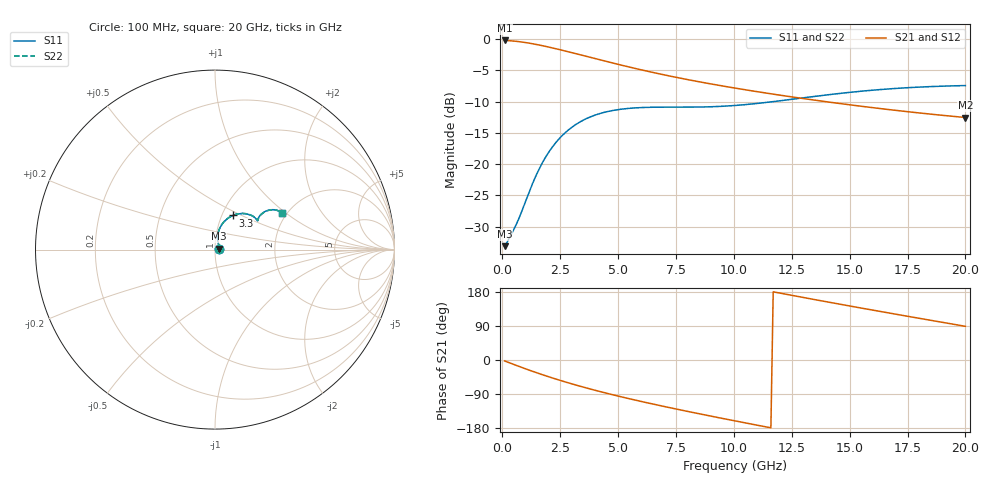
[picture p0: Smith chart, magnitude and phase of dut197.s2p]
! Touchstone file exported from HFSS 2024.1.0
!  File:  C:/UserFiles/LocalFiles/RDL_TSV_Batchsim/temp_RDL_TSV_197_1779443009.aedt
!  Generated:  06:03:29 PM May 22, 2026
!  Design:  RDL_TSV
!  Project:  temp_RDL_TSV_197_1779443009
!  Setup:  Setup1
!  Solution:  Sweep
! Variables:
!  dtsv = 11.93um
!  hbump = 3um
!  htsv = 78.71um
!  ldown = 482.27um
!  lrdl = 619.86um
!  p = 40
!  p1 = 53.49um
!  rhole = 10um
!  subl = 3926.25um
!  t = 450um
!  tdown = 2.33um
!  trdl = 4.87um
!  viad = 10um
!  wdown = 26.42um
!  wrdl = 13.71um
!  xbump = 18um
# GHz S MA R 50.000000
! Terminal data exported
! Port[1] = TM1_1_T1
! Port[2] = TM1_4_T1
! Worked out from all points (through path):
!   200 points, 100 MHz to 20 GHz, reference 50 ohm
!   highest |S21| = -0.19 dB at 100 MHz (marker M1); lowest = -12.5 dB at 20 GHz (marker M2)
!   group delay of S21, straight-line fit = 35.5 ps
!   lowest |S11| = -33.1 dB at 100 MHz (marker M3), VSWR 1.05, Z = 52.2 + j0.489 ohm
!   |S11| at or under -10 dB: start of sweep to 11.67 GHz
!   |S22| runs from -33.1 to -7.4 dB; largest |S21 - S12| = 3.3e-14
!   S11 on the Smith chart (normalised r, x): 100 MHz: 1.04, +0.01; 3.3 GHz: 1.13, +0.45; 20 GHz: 1.88, +0.94
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0.1  0.02207 12.3  0.9779 -2.4  0.9779 -2.4  0.02207 12.3
! Gamma 0 0 0 0
! Port Impedance 50 0 50 0
0.5  0.03007 45.6  0.9668 -11.9  0.9668 -11.9  0.03005 45.6
0.8  0.04015 63.4  0.9528 -18.7  0.9528 -18.7  0.04014 63.5
1.3  0.06948 77.8  0.9211 -29.7  0.9211 -29.7  0.06953 77.9
1.7  0.1 79.1  0.8906 -38.1  0.8906 -38.1  0.1002 79.2
2  0.1242 77.2  0.8661 -44.2  0.8661 -44.2  0.1244 77.4
2.4  0.1556 73.2  0.8323 -51.9  0.8323 -51.9  0.1559 73.3
2.8  0.1843 68.4  0.7983 -59.4  0.7983 -59.4  0.1847 68.5
3.3  0.2148 62.2  0.7564 -68.2  0.7564 -68.2  0.2154 62.3
3.5  0.2252 59.9  0.7401 -71.6  0.7401 -71.6  0.2258 60.0
4.3  0.2569 51.3  0.6783 -84.6  0.6783 -84.6  0.2577 51.4
5.1  0.275 44.6  0.623 -96.7  0.623 -96.7  0.276 44.7
5.9  0.2834 39.6  0.5746 -108.0  0.5746 -108.0  0.2846 39.7
6.8  0.286 36.1  0.5277 -120.2  0.5277 -120.2  0.2874 36.1
8.4  0.2864 34.2  0.4603 -140.6  0.4603 -140.6  0.2879 34.1
10.1  0.2955 35.6  0.405 -161.3  0.405 -161.3  0.2969 35.5
11.6  0.3151 37.2  0.3659 -179.0  0.3659 -179.0  0.3162 37.0
13.4  0.3471 37.4  0.3272 160.4  0.3272 160.4  0.3478 37.2
15  0.3757 36.0  0.2987 142.6  0.2987 142.6  0.3761 35.8
16.7  0.4005 33.6  0.2735 124.0  0.2735 124.0  0.4006 33.4
18.3  0.4164 31.1  0.2537 106.9  0.2537 106.9  0.4163 31.0
20  0.4259 28.8  0.2363 88.9  0.2363 88.9  0.4255 28.7
